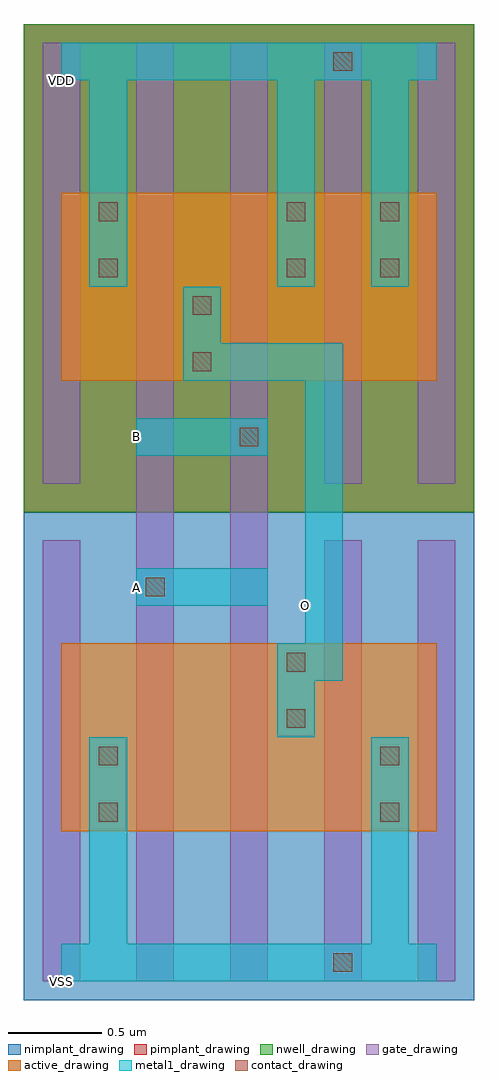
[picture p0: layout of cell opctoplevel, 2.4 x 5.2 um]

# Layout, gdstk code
import gdstk
lib = gdstk.Library(unit=1e-6, precision=1e-09)
def R(c, l, rs):  # rectangles x0, y0, x1, y1
    for r in rs: c.add(gdstk.rectangle(r[:2], r[2:], *l))
active_drawing = (1, 0)
nwell_drawing = (3, 0)
pimplant_drawing = (4, 0)
nimplant_drawing = (5, 0)
gate_drawing = (6, 0)
contact_drawing = (7, 0)
metal1_drawing = (8, 0)

opctoplevel = lib.new_cell('opctoplevel')
R(opctoplevel, active_drawing, [(-0.4,0,0.45,1), (0.25,0,0.95,1), (0.75,0,1.6,1), (-0.4,2.4,0.45,3.4), (0.25,2.4,0.95,3.4), (0.75,2.4,1.6,3.4)])
R(opctoplevel, nwell_drawing, [(-0.6,1.7,0.55,4.3), (0.15,1.7,1.05,4.3), (0.65,1.7,1.8,4.3)])
R(opctoplevel, pimplant_drawing, [(-0.6,1.7,0.55,4.3), (0.15,1.7,1.05,4.3), (0.65,1.7,1.8,4.3)])
R(opctoplevel, nimplant_drawing, [(-0.6,-0.9,0.55,1.7), (0.15,-0.9,1.05,1.7), (0.65,-0.9,1.8,1.7)])
R(opctoplevel, gate_drawing, [(-0.5,-0.8,-0.3,1.55), (0,-0.8,0.2,1.7), (0.5,-0.8,0.7,2.2), (1,-0.8,1.2,1.55), (1.5,-0.8,1.7,1.55), (0,1.7,0.2,4.2), (0.5,1.7,0.7,4.2), (-0.5,1.85,-0.3,4.2), (1,1.85,1.2,4.2), (1.5,1.85,1.7,4.2)])
R(opctoplevel, contact_drawing, [(1.05,-0.75,1.15,-0.65), (-0.2,0.05,-0.1,0.15), (1.3,0.05,1.4,0.15), (-0.2,0.35,-0.1,0.45), (1.3,0.35,1.4,0.45), (0.8,0.55,0.9,0.65), (0.8,0.85,0.9,0.95), (0.05,1.25,0.15,1.35), (0.55,2.05,0.65,2.15), (0.3,2.45,0.4,2.55), (0.3,2.75,0.4,2.85), (-0.2,2.95,-0.1,3.05), (0.8,2.95,0.9,3.05), (1.3,2.95,1.4,3.05), (-0.2,3.25,-0.1,3.35), (0.8,3.25,0.9,3.35), (1.3,3.25,1.4,3.35), (1.05,4.05,1.15,4.15)])
R(opctoplevel, metal1_drawing, [(-0.4,-0.8,1.6,-0.6), (1,-0.8,1.2,-0.6), (-0.25,-0.6,-0.05,0), (1.25,-0.6,1.45,0), (-0.25,0,-0.05,0.5), (1.25,0,1.45,0.5), (0.75,0.5,0.95,1), (0,1.2,0.2,1.4), (0,1.2,0.7,1.4), (0,2,0.7,2.2), (0.5,2,0.7,2.2), (0.25,2.4,0.45,2.9), (-0.25,2.9,-0.05,3.4), (0.75,2.9,0.95,3.4), (1.25,2.9,1.45,3.4), (-0.25,3.4,-0.05,4), (0.75,3.4,0.95,4), (1.25,3.4,1.45,4), (-0.4,4,1.6,4.2), (1,4,1.2,4.2)])
opctoplevel.add(gdstk.FlexPath([(0.95,0.9),(1,0.9),(1,2.5),(0.45,2.5)], 0.2, ends="flush", simple_path=True, layer=8, datatype=0))  # metal1_drawing
opctoplevel.add(gdstk.Label('A', (0,1.3), layer=8, texttype=1))
opctoplevel.add(gdstk.Label('B', (0,2.1), layer=8, texttype=1))
opctoplevel.add(gdstk.Label('O', (0.9,1.2), layer=8, texttype=1))
opctoplevel.add(gdstk.Label('VDD', (-0.4,4), layer=8, texttype=1))
opctoplevel.add(gdstk.Label('VSS', (-0.4,-0.8), layer=8, texttype=1))

lib.write_gds('opctoplevel.gds')
